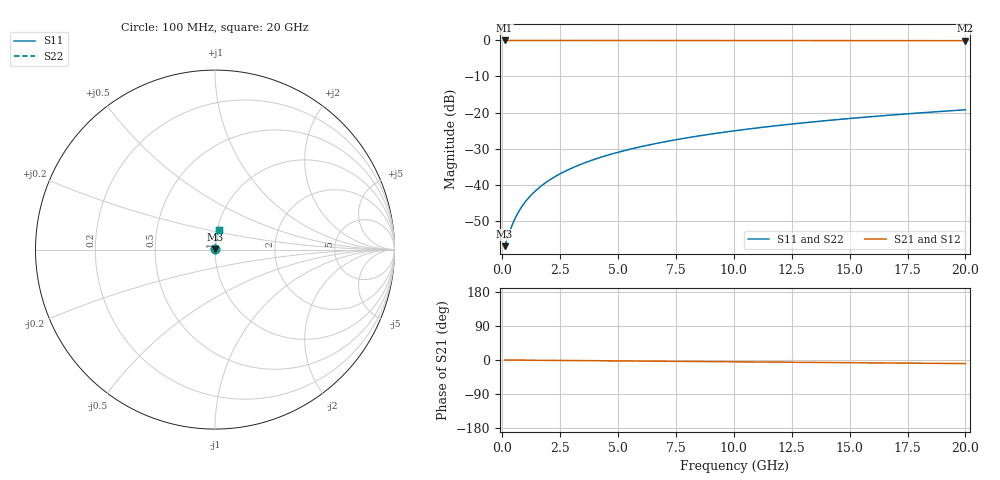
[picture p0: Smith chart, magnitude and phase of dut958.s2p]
! Touchstone file exported from HFSS 2026.1.0
!  File:  C:/ffzhzh/LocalFiles/Ansys_Project_Files/temp_train_TSV_958_1783187454_51560.aedt
!  Generated:  01:52:59 AM Jul  5, 2026
!  Design:  TSV
!  Project:  temp_train_TSV_958_1783187454_51560
! Variables:
!  h_bsmrdl = 2um
!  h_ox = 20um
!  h_rdl = 5um
!  h_sub = 67.1um
!  h_tmrdl = 5um
!  h_tsv = 67.1um
!  h_via = 3um
!  l_bsmrdl = 300um
!  l_sub = 404.94um
!  l_tmrdl = 200um
!  m_sub = 200um
!  pitch = 40.11um
!  r_tsv = 2.47um
!  s_tmrdl = 10um
!  w_bsmrdl = 18um
!  w_sub = 500um
!  w_tmrdl = 12um
!  x_tsv_center1 = 206um
!  x_tsv_center2 = 524um
!  x_tsv_center3 = 736um
!  x_tsv_center4 = 1054um
!  x_tsv_center5 = 1266um
!  x_tsv_center6 = 1584um
# GHz S MA R 50.000000
! Terminal data exported
! Port[1] = TSV1_1_T1
! Port[2] = TSV1_1_T2
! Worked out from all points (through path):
!   200 points, 100 MHz to 20 GHz, reference 50 ohm
!   highest |S21| = -0.01 dB at 100 MHz (marker M1); lowest = -0.1 dB at 20 GHz (marker M2)
!   group delay of S21, straight-line fit = 1.31 ps
!   lowest |S11| = -57.1 dB at 100 MHz (marker M3), VSWR 1.00, Z = 50.1 + j0.0573 ohm
!   |S11| at or under -10 dB: start of sweep to end of sweep
!   |S22| runs from -57.1 to -19.2 dB; largest |S21 - S12| = 3e-15
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0.1  0.001404 24.0  0.9987 -0.0  0.9987 -0.0  0.001404 24.0
! Gamma 0 0 0 0
! Port Impedance 50 0 50 0
0.4  0.002625 60.2  0.9987 -0.2  0.9987 -0.2  0.002625 60.2
0.5  0.003132 65.1  0.9987 -0.2  0.9987 -0.2  0.003132 65.1
0.6  0.003655 68.7  0.9987 -0.3  0.9987 -0.3  0.003655 68.7
0.7  0.004188 71.3  0.9987 -0.3  0.9987 -0.3  0.004188 71.3
0.9  0.005272 75.0  0.9987 -0.4  0.9987 -0.4  0.005272 75.0
1.2  0.006921 78.2  0.9986 -0.6  0.9986 -0.6  0.006921 78.2
1.4  0.008028 79.6  0.9986 -0.7  0.9986 -0.7  0.008028 79.6
1.7  0.009697 81.1  0.9986 -0.8  0.9986 -0.8  0.009697 81.1
2.2  0.01249 82.5  0.9985 -1.1  0.9985 -1.1  0.01249 82.5
2.8  0.01585 83.5  0.9984 -1.3  0.9984 -1.3  0.01585 83.5
3.5  0.01976 84.0  0.9983 -1.7  0.9983 -1.7  0.01976 84.0
4.2  0.02368 84.2  0.9982 -2.0  0.9982 -2.0  0.02368 84.2
5  0.02814 84.3  0.998 -2.4  0.998 -2.4  0.02814 84.3
5.9  0.03314 84.2  0.9977 -2.8  0.9977 -2.8  0.03314 84.2
6.8  0.03813 84.0  0.9974 -3.3  0.9974 -3.3  0.03813 84.0
8.3  0.0464 83.5  0.9969 -4.0  0.9969 -4.0  0.0464 83.5
10.1  0.05626 82.9  0.9962 -4.8  0.9962 -4.8  0.05626 82.9
11.7  0.06495 82.3  0.9954 -5.6  0.9954 -5.6  0.06495 82.3
13.4  0.07413 81.6  0.9946 -6.4  0.9946 -6.4  0.07413 81.6
16.7  0.09179 80.2  0.9927 -7.9  0.9927 -7.9  0.09179 80.2
20  0.1092 78.8  0.9907 -9.5  0.9907 -9.5  0.1092 78.8
